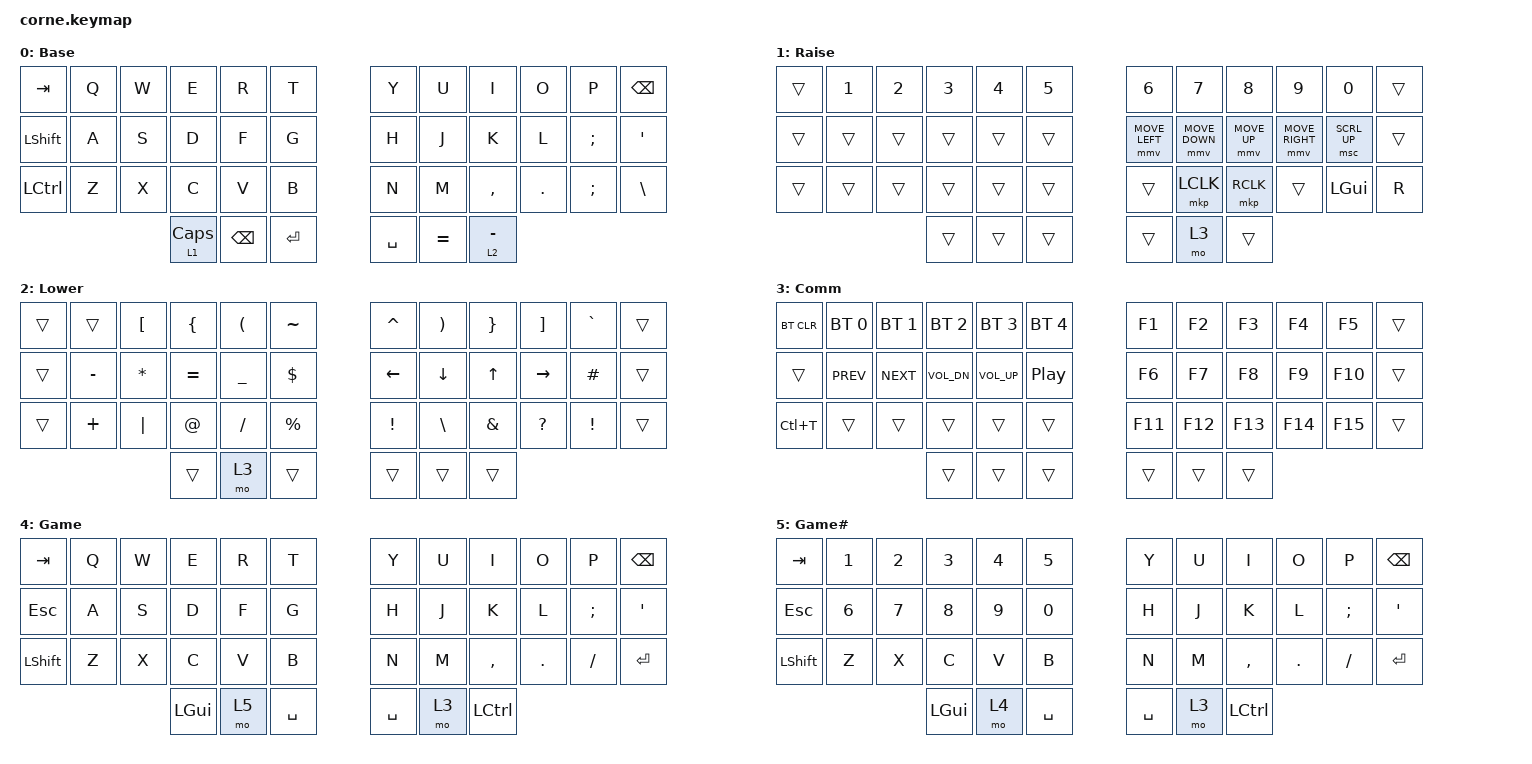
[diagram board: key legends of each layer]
/*
 * Copyright (c) 2020 The ZMK Contributors
 *
 * SPDX-License-Identifier: MIT
 */

#include <behaviors.dtsi>
#include <dt-bindings/zmk/bt.h>
#include <dt-bindings/zmk/keys.h>

#define ZMK_MOUSE_DEFAULT_MOVE_VAL 1500  // 600
#define ZMK_MOUSE_DEFAULT_SCRL_VAL 20    // 10

#include <dt-bindings/zmk/mouse.h>

&mmv {
  acceleration-exponent = <1>;      // 1
  time-to-max-speed-ms = <500>;     // 300
  delay-ms = <0>;                   // 0
};

&msc {
  acceleration-exponent = <1>;      // 0
  time-to-max-speed-ms = <40>;      // 300
  delay-ms = <0>;                   // 0
};

#define U_MS_U &mmv MOVE_UP
#define U_MS_D &mmv MOVE_DOWN
#define U_MS_L &mmv MOVE_LEFT
#define U_MS_R &mmv MOVE_RIGHT
#define U_WH_U &msc SCRL_UP
#define U_WH_D &msc SCRL_DOWN
#define U_WH_L &msc SCRL_LEFT
#define U_WH_R &msc SCRL_RIGHT


/ {
    behaviors {
        rpi: require_prior_idle {
            compatible = "zmk,behavior-hold-tap";
            #binding-cells = <2>;
            flavor = "tap-preferred";
            tapping-term-ms = <200>;
            quick-tap-ms = <200>;
            require-prior-idle-ms = <200>;
            bindings = <&kp>, <&kp>;
        };
    };

    combos {
        compatible = "zmk,combos";

        Games {
            bindings = <&tog 4>;
            key-positions = <36 37 40 41>;
        };

        CTRL {
            bindings = <&kp LCTRL>;
            key-positions = <41 36>;
        };
    };

    keymap {
        compatible = "zmk,keymap";

        default_layer {
            // -----------------------------------------------------------------------------------------
            // |  TAB |  Q  |  W  |  E  |  R  |  T  |   |  Y  |  U   |  I  |  O  |  P  | BKSP |
            // | CTRL |  A  |  S  |  D  |  F  |  G  |   |  H  |  J   |  K  |  L  |  ;  |  '   |
            // | SHFT |  Z  |  X  |  C  |  V  |  B  |   |  N  |  M   |  ,  |  .  |  /  | ESC  |
            //                    | GUI | LWR | SPC |   | ENT | RSE  | ALT |

            display-name = "Base";
            bindings = <
&kp TAB     &kp Q  &kp W                &kp E            &kp R              &kp T            &kp Y      &kp U               &kp I             &kp O             &kp P          &kp BSPC
&kp LSHFT  &kp A  &kp S  &kp D  &kp F  &kp G            &kp H      &kp J  &kp K  &kp L  &kp SEMI  &kp SQT
&kp LCTRL   &kp Z  &kp X                &kp C            &kp V              &kp B            &kp N      &kp M               &kp COMMA         &kp DOT         &kp SEMI      &kp BSLH
                                        &ltq 1 CAPS         &kp BACKSPACE      &kp ENTER        &kp SPACE    &kp EQUAL  &ltq 2  MINUS               
            >;
        };

        raise_layer {
            display-name = "Raise";
            bindings = <
&trans  &kp NUMBER_1  &kp NUMBER_2  &kp NUMBER_3  &kp NUMBER_4  &kp N5    &kp NUMBER_6    &kp NUMBER_7    &kp NUMBER_8  &kp NUMBER_9     &kp N0          &trans
&trans  &trans        &trans        &trans        &trans        &trans    &mmv MOVE_LEFT  &mmv MOVE_DOWN  &mmv MOVE_UP  &mmv MOVE_RIGHT  &msc SCRL_UP    &trans
&trans  &trans        &trans        &trans        &trans        &trans    &trans          &mkp LCLK       &mkp RCLK     &trans           &kp LGUI  &kp R
                                    &trans        &trans        &trans    &trans          &mo 3           &trans
            >;
        };

        lower_layer {
            display-name = "Lower";
            bindings = <
&trans  &trans     &kp LEFT_BRACKET  &kp LEFT_BRACE  &kp LEFT_PARENTHESIS  &kp TILDE      &kp CARET  &kp RIGHT_PARENTHESIS  &kp RIGHT_BRACE  &kp RIGHT_BRACKET  &kp GRAVE        &trans
&trans  &kp MINUS  &kp ASTERISK      &kp EQUAL       &kp UNDERSCORE        &kp DOLLAR     &kp LEFT   &kp DOWN               &kp UP           &kp RIGHT          &kp HASH         &trans
&trans  &kp PLUS   &kp PIPE          &kp AT          &kp SLASH             &kp PERCENT    &kp EXCL   &kp BACKSLASH          &kp AMPERSAND    &kp QUESTION       &kp EXCLAMATION  &trans
                                     &trans          &mo 3                 &trans         &trans     &trans                 &trans
            >;
        };

        command_layer {
            display-name = "Comm";
            bindings = <
&bt BT_CLR  &bt BT_SEL 0  &bt BT_SEL 1  &bt BT_SEL 2  &bt BT_SEL 3  &bt BT_SEL 4        &kp F1   &kp F2   &kp F3   &kp F4   &kp F5   &trans
&trans      &kp C_PREV    &kp C_NEXT    &kp C_VOL_DN  &kp C_VOL_UP  &kp C_PLAY_PAUSE    &kp F6   &kp F7   &kp F8   &kp F9   &kp F10  &trans
&kp LC(T)   &trans        &trans        &trans        &trans        &trans              &kp F11  &kp F12  &kp F13  &kp F14  &kp F15  &trans
                                        &trans        &trans        &trans              &trans   &trans   &trans
            >;
        };

        game_layer {
            display-name = "Game";
            bindings = <
&kp TAB     &kp Q  &kp W  &kp E     &kp R  &kp T        &kp Y      &kp U  &kp I             &kp O    &kp P     &kp BSPC
&kp ESCAPE  &kp A  &kp S  &kp D     &kp F  &kp G        &kp H      &kp J  &kp K             &kp L    &kp SEMI  &kp SQT
&kp LSHFT   &kp Z  &kp X  &kp C     &kp V  &kp B        &kp N      &kp M  &kp COMMA         &kp DOT  &kp FSLH  &kp ENTER
                          &kp LGUI  &mo 5  &kp SPACE    &kp SPACE  &mo 3  &kp LEFT_CONTROL
            >;
        };

        game2_layer {
            display-name = "Game#";
            bindings = <
&kp TAB     &kp NUMBER_1  &kp NUMBER_2  &kp NUMBER_3  &kp NUMBER_4  &kp N5       &kp Y      &kp U  &kp I             &kp O    &kp P     &kp BSPC
&kp ESCAPE  &kp NUMBER_6  &kp NUMBER_7  &kp NUMBER_8  &kp NUMBER_9  &kp N0       &kp H      &kp J  &kp K             &kp L    &kp SEMI  &kp SQT
&kp LSHFT   &kp Z         &kp X         &kp C         &kp V         &kp B        &kp N      &kp M  &kp COMMA         &kp DOT  &kp FSLH  &kp ENTER
                                        &kp LGUI      &mo 4         &kp SPACE    &kp SPACE  &mo 3  &kp LEFT_CONTROL
            >;
        };
    };
};
